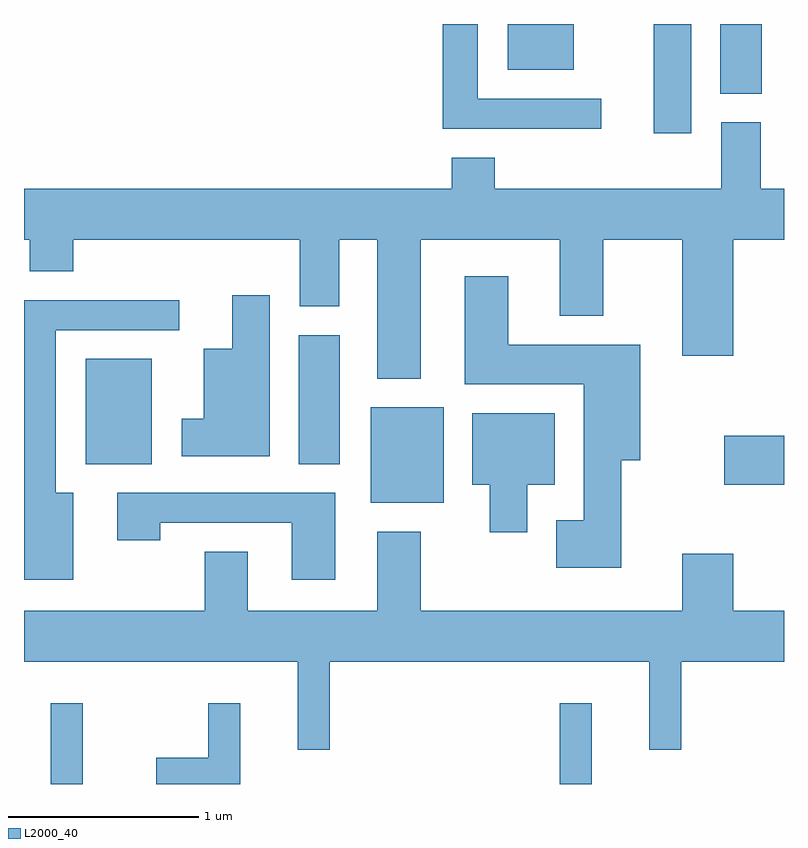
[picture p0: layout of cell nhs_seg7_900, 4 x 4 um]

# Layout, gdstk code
import gdstk
lib = gdstk.Library(unit=1e-6, precision=1e-09)
def R(c, l, rs):  # rectangles x0, y0, x1, y1
    for r in rs: c.add(gdstk.rectangle(r[:2], r[2:], *l))
def P(c, l, *ps):  # polygons
    for p in ps: c.add(gdstk.Polygon(p, *l))
L2000_40 = (2000, 40)

nhs_seg7_900 = lib.new_cell('nhs_seg7_900')
R(nhs_seg7_900, L2000_40, [(211.751,1800.252,211.919,1800.678), (214.431,1800.252,214.599,1800.678), (213.436,1801.731,213.819,1802.234), (215.296,1801.826,215.611,1802.084), (211.936,1801.936,212.284,1802.489), (213.056,1801.936,213.274,1802.614), (214.926,1803.676,215.124,1804.252), (215.276,1803.886,215.494,1804.252), (214.156,1804.011,214.504,1804.252)])
P(nhs_seg7_900, L2000_40, [(214.648,1803.859),(213.999,1803.859),(213.999,1804.252),(213.816,1804.252),(213.816,1803.701),(214.648,1803.701)],
  [(213.699,1803.116),(214.431,1803.116),(214.431,1802.716),(214.659,1802.716),(214.659,1803.116),(215.076,1803.116),(215.076,1802.506),(215.344,1802.506),(215.344,1803.116),(215.611,1803.116),(215.611,1803.384),(215.489,1803.384),(215.489,1803.734),(215.281,1803.734),(215.281,1803.384),(214.089,1803.384),(214.089,1803.549),(213.861,1803.549),(213.861,1803.384),(211.611,1803.384),(211.611,1803.116),(211.641,1803.116),(211.641,1802.951),(211.869,1802.951),(211.869,1803.116),(213.061,1803.116),(213.061,1802.766),(213.269,1802.766),(213.269,1803.116),(213.471,1803.116),(213.471,1802.386),(213.699,1802.386)],
  [(214.754,1801.956),(214.854,1801.956),(214.854,1802.564),(214.159,1802.564),(214.159,1802.924),(213.931,1802.924),(213.931,1802.356),(214.556,1802.356),(214.556,1801.639),(214.411,1801.639),(214.411,1801.391),(214.754,1801.391)],
  [(212.904,1802.824),(212.706,1802.824),(212.706,1802.544),(212.556,1802.544),(212.556,1802.174),(212.441,1802.174),(212.441,1801.976),(212.904,1801.976)],
  [(211.869,1801.784),(211.779,1801.784),(211.779,1802.641),(212.428,1802.641),(212.428,1802.799),(211.611,1802.799),(211.611,1801.326),(211.869,1801.326)],
  [(214.259,1801.826),(214.404,1801.826),(214.404,1802.204),(213.971,1802.204),(213.971,1801.826),(214.061,1801.826),(214.061,1801.576),(214.259,1801.576)],
  [(213.249,1801.784),(212.101,1801.784),(212.101,1801.536),(212.329,1801.536),(212.329,1801.626),(213.021,1801.626),(213.021,1801.326),(213.249,1801.326)],
  [(213.219,1800.896),(214.901,1800.896),(214.901,1800.433),(215.069,1800.433),(215.069,1800.896),(215.611,1800.896),(215.611,1801.164),(215.344,1801.164),(215.344,1801.464),(215.076,1801.464),(215.076,1801.164),(213.699,1801.164),(213.699,1801.579),(213.471,1801.579),(213.471,1801.164),(212.789,1801.164),(212.789,1801.474),(212.561,1801.474),(212.561,1801.164),(211.611,1801.164),(211.611,1800.896),(213.051,1800.896),(213.051,1800.433),(213.219,1800.433)],
  [(212.749,1800.678),(212.581,1800.678),(212.581,1800.389),(212.306,1800.389),(212.306,1800.252),(212.749,1800.252)])

lib.write_gds('nhs_seg7_900.gds')
